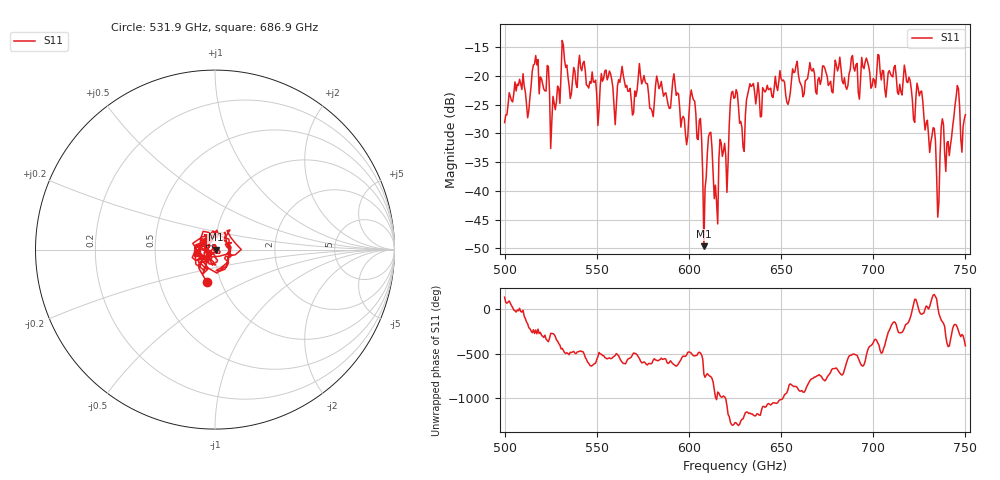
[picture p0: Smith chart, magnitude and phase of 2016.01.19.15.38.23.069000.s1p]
!Created with skrf (http://scikit-rf.org).
# GHz S RI R 50.0
!freq ReS11 ImS11
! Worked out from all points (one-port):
!   401 points, 500 GHz to 750 GHz, reference 50 ohm
!   lowest |S11| = -49.6 dB at 608.1 GHz (marker M1), VSWR 1.01, Z = 50.3 - j0.0834 ohm
!   |S11| at or under -10 dB: start of sweep to end of sweep
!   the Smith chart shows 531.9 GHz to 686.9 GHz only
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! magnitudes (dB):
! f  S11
! 500 GHz  -28.1
! 506.9 GHz  -21.4
! 513.1 GHz  -26.0
! 516.9 GHz  -16.4
! 526.2 GHz  -23.5
! 531.2 GHz  -13.8
! 550.6 GHz  -28.6
! 562.5 GHz  -21.1
! 574.4 GHz  -21.4
! 580 GHz  -26.1
! 593.8 GHz  -22.9
! 598.1 GHz  -30.1
! 602.5 GHz  -24.2
! 608.1 GHz  -49.6
! 611.2 GHz  -29.9
! 615 GHz  -42.0
! 625 GHz  -23.7
! 628.8 GHz  -28.9
! 633.8 GHz  -21.8
! 656.2 GHz  -18.7
! 687.5 GHz  -18.9
! 718.8 GHz  -21.1
! 732.5 GHz  -29.0
! 735 GHz  -44.6
! 737.5 GHz  -27.4
! 740.6 GHz  -31.4
! 745 GHz  -23.6
! 750 GHz  -26.7
